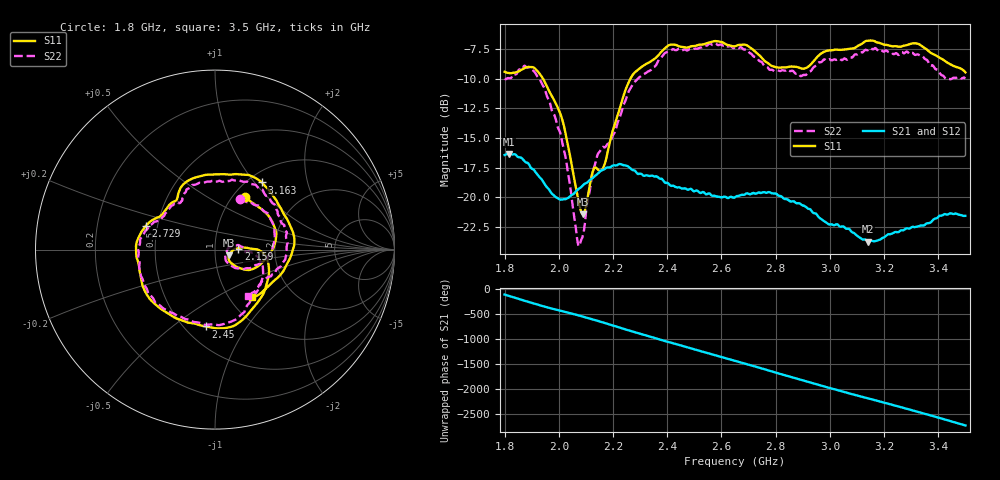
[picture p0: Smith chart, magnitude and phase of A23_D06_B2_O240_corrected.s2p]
! Created with skrf 1.9.0 (http://scikit-rf.org).
# Hz S RI R 50.0
!freq ReS11 ImS11 ReS21 ImS21 ReS12 ImS12 ReS22 ImS22
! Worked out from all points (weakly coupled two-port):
!   1601 points, 1.8 GHz to 3.5 GHz, reference 50 ohm
!   highest |S21| = -16.34 dB at 1.816 GHz (marker M1); lowest = -23.7 dB at 3.142 GHz (marker M2)
!   lowest |S11| = -21.4 dB at 2.089 GHz (marker M3), VSWR 1.19, Z = 58.4 - j3.8 ohm
!   |S11| at or under -10 dB: 1.942 GHz to 2.264 GHz (322.2 MHz wide, 15.3 % of centre)
!   |S22| runs from -24.1 to -7.0 dB; largest |S21 - S12| = 0.0025
!   S11 on the Smith chart (normalised r, x): 1.8 GHz: 1.13, +0.75; 2.159 GHz: 1.30, +0.01; 2.45 GHz: 0.63, -0.66; 2.729 GHz: 0.43, +0.14; 3.163 GHz: 1.16, +1.09; 3.5 GHz: 1.27, -0.76
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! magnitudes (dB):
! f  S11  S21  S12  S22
! 1.8 GHz  -9.4  -16.4  -16.4  -10.0
! 1.816 GHz  -9.5  -16.3  -16.3  -10.0
! 1.881 GHz  -9.0  -17.1  -17.1  -9.0
! 1.943 GHz  -10.1  -18.7  -18.7  -10.6
! 2.013 GHz  -13.4  -20.2  -20.2  -15.3
! 2.068 GHz  -19.7  -19.4  -19.4  -23.5
! 2.084 GHz  -21.3  -19.1  -19.1  -23.5
! 2.089 GHz  -21.4  -19.0  -19.0  -23.2
! 2.127 GHz  -17.7  -18.3  -18.3  -17.6
! 2.159 GHz  -17.7  -17.7  -17.7  -15.8
! 2.261 GHz  -10.1  -17.5  -17.5  -10.9
! 2.367 GHz  -8.0  -18.3  -18.3  -8.5
! 2.45 GHz  -7.3  -19.2  -19.2  -7.6
! 2.65 GHz  -7.3  -20.0  -20.0  -7.4
! 2.729 GHz  -7.8  -19.7  -19.7  -8.2
! 2.801 GHz  -9.0  -19.7  -19.7  -9.3
! 2.934 GHz  -8.7  -21.2  -21.2  -9.2
! 3.142 GHz  -6.8  -23.7  -23.6  -7.6
! 3.163 GHz  -6.8  -23.7  -23.7  -7.5
! 3.217 GHz  -7.2  -23.1  -23.1  -7.8
! 3.325 GHz  -7.0  -22.4  -22.4  -8.0
! 3.5 GHz  -9.5  -21.6  -21.5  -10.0
